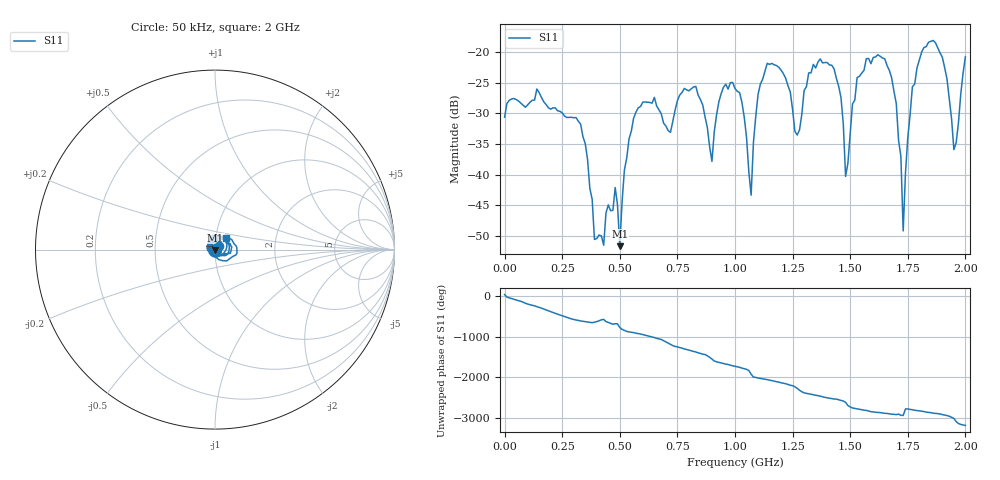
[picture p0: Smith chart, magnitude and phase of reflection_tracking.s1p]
! Created with skrf 1.8.0 (http://scikit-rf.org).
# Hz S RI R 50.0
!freq ReS11 ImS11
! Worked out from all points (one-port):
!   201 points, 50 kHz to 2 GHz, reference 50 ohm
!   lowest |S11| = -51.7 dB at 500 MHz (marker M1), VSWR 1.01, Z = 50.1 - j0.217 ohm
!   |S11| at or under -10 dB: start of sweep to end of sweep
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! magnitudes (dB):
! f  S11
! 50 kHz  -30.6
! 250 MHz  -29.9
! 330 MHz  -31.8
! 390 MHz  -50.6
! 480 MHz  -42.1
! 500 MHz  -51.7
! 570 MHz  -29.8
! 750 MHz  -27.9
! 830 MHz  -25.6
! 900 MHz  -37.8
! 940 MHz  -26.8
! 1 GHz  -26.0
! 1.07 GHz  -43.4
! 1.1 GHz  -26.9
! 1.14 GHz  -21.8
! 1.25 GHz  -29.4
! 1.37 GHz  -21.1
! 1.45 GHz  -25.6
! 1.48 GHz  -40.3
! 1.5 GHz  -33.4
! 1.53 GHz  -24.2
! 1.65 GHz  -21.1
! 1.7 GHz  -28.4
! 1.73 GHz  -49.2
! 1.75 GHz  -34.0
! 1.86 GHz  -18.1
! 1.95 GHz  -35.9
! 2 GHz  -20.8
